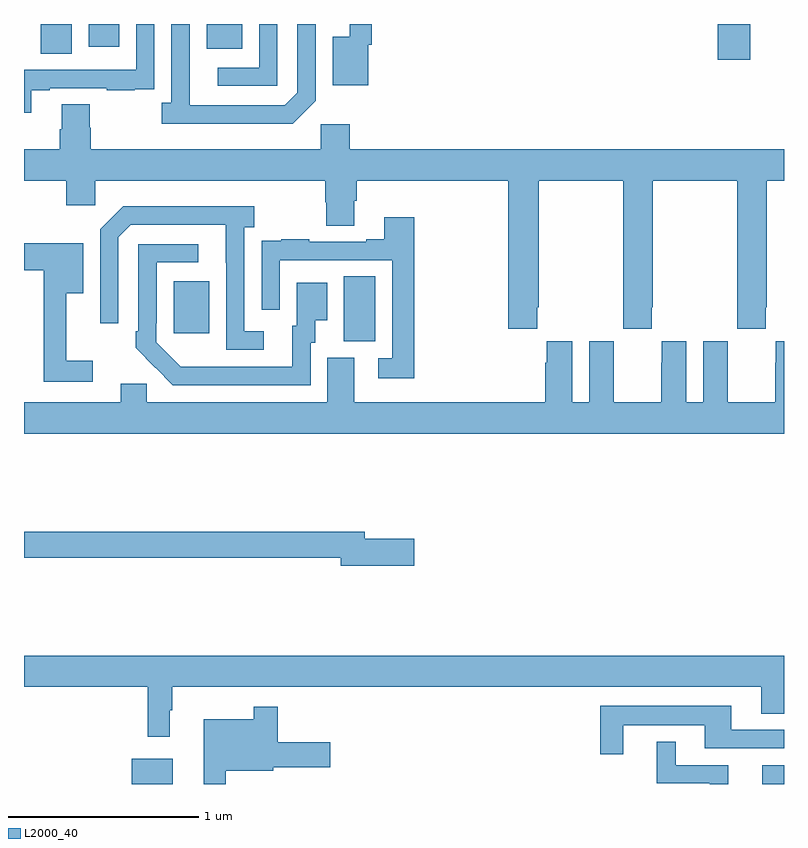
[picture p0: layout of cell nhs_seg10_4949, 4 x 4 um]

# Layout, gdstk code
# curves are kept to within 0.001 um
import gdstk
lib = gdstk.Library(unit=1e-6, precision=1e-09)
def R(c, l, rs):  # rectangles x0, y0, x1, y1
    for r in rs: c.add(gdstk.rectangle(r[:2], r[2:], *l))
def P(c, l, *ps):  # polygons
    for p in ps: c.add(gdstk.Polygon(p, *l))
L2000_40 = (2000, 40)

nhs_seg10_4949 = lib.new_cell('nhs_seg10_4949')
R(nhs_seg10_4949, L2000_40, [(397.568,1270.5,397.783,1270.633), (400.886,1270.5,401,1270.6), (398.684,1272.829,398.848,1273.172), (397.787,1272.873,397.975,1273.147), (400.652,1274.313,400.822,1274.5), (397.088,1274.344,397.252,1274.5), (397.961,1274.369,398.149,1274.5), (397.34,1274.379,397.501,1274.5)])
P(nhs_seg10_4949, L2000_40, [(398.334,1274.5),(398.238,1274.5),(398.238,1274.271),(398.019,1274.271),(398.019,1274.175),(398.334,1274.175)],
  [(398.535,1274.097),(398.535,1274.5),(398.439,1274.5),(398.439,1274.139),(398.373,1274.073),(397.873,1274.073),(397.872,1274.5),(397.776,1274.5),(397.776,1274.086),(397.725,1274.086),(397.725,1273.976),(398.414,1273.976)],
  [(397.039,1274.151),(397.135,1274.151),(397.135,1274.163),(397.435,1274.163),(397.435,1274.151),(397.583,1274.151),(397.583,1274.157),(397.685,1274.157),(397.685,1274.266),(397.686,1274.266),(397.686,1274.5),(397.59,1274.5),(397.59,1274.259),(397,1274.259),(397,1274.034),(397.039,1274.034)],
  [(398.812,1274.391),(398.831,1274.391),(398.831,1274.5),(398.714,1274.5),(398.714,1274.434),(398.624,1274.434),(398.624,1274.177),(398.812,1274.177)],
  [(398.714,1273.972),(398.562,1273.972),(398.562,1273.84),(397.352,1273.84),(397.352,1273.953),(397.347,1273.953),(397.347,1274.078),(397.199,1274.078),(397.199,1273.946),(397.187,1273.946),(397.187,1273.84),(397,1273.84),(397,1273.676),(397.223,1273.676),(397.223,1273.545),(397.374,1273.545),(397.374,1273.676),(398.585,1273.676),(398.585,1273.563),(398.59,1273.563),(398.59,1273.438),(398.737,1273.438),(398.737,1273.57),(398.75,1273.57),(398.75,1273.676),(399.548,1273.676),(399.548,1272.897),(399.701,1272.897),(399.701,1273.009),(399.708,1273.009),(399.708,1273.676),(400.153,1273.676),(400.153,1273.009),(400.155,1273.009),(400.155,1272.897),(400.305,1272.897),(400.305,1273.009),(400.308,1273.009),(400.308,1273.676),(400.753,1273.676),(400.753,1273.009),(400.755,1273.009),(400.755,1272.897),(400.905,1272.897),(400.905,1273.009),(400.908,1273.009),(400.908,1273.676),(401,1273.676),(401,1273.84),(398.714,1273.84)],
  [(398.263,1272.882),(398.16,1272.882),(398.16,1273.43),(398.212,1273.43),(398.212,1273.54),(397.522,1273.54),(397.401,1273.419),(397.401,1272.924),(397.497,1272.924),(397.497,1273.377),(397.563,1273.443),(398.063,1273.443),(398.064,1272.786),(398.263,1272.786)],
  [(399.053,1273.483),(398.897,1273.483),(398.897,1273.366),(398.801,1273.366),(398.801,1273.353),(398.501,1273.353),(398.501,1273.366),(398.353,1273.366),(398.353,1273.359),(398.251,1273.359),(398.251,1273.25),(398.25,1273.25),(398.25,1272.996),(398.346,1272.996),(398.346,1273.257),(398.937,1273.257),(398.937,1272.741),(398.865,1272.741),(398.865,1272.636),(399.053,1272.636)],
  [(397.363,1272.727),(397.223,1272.727),(397.223,1273.082),(397.312,1273.082),(397.312,1273.347),(397,1273.347),(397,1273.205),(397.105,1273.205),(397.105,1272.618),(397.363,1272.618)],
  [(398.508,1272.822),(398.533,1272.822),(398.533,1272.941),(398.596,1272.941),(398.596,1273.138),(398.435,1273.138),(398.435,1272.912),(398.411,1272.912),(398.411,1272.696),(397.824,1272.697),(397.695,1272.825),(397.695,1272.925),(397.698,1272.925),(397.698,1273.245),(397.918,1273.245),(397.918,1273.341),(397.602,1273.341),(397.602,1272.883),(397.587,1272.883),(397.587,1272.795),(397.784,1272.6),(398.508,1272.6)],
  [(401,1272.829),(400.956,1272.829),(400.956,1272.716),(400.955,1272.716),(400.955,1272.508),(400.705,1272.508),(400.705,1272.716),(400.704,1272.716),(400.704,1272.829),(400.574,1272.829),(400.574,1272.508),(400.486,1272.508),(400.486,1272.829),(400.356,1272.829),(400.356,1272.716),(400.355,1272.716),(400.355,1272.508),(400.105,1272.508),(400.105,1272.716),(400.104,1272.716),(400.104,1272.829),(399.974,1272.829),(399.974,1272.508),(399.886,1272.508),(399.886,1272.829),(399.752,1272.829),(399.752,1272.716),(399.743,1272.716),(399.743,1272.508),(398.737,1272.508),(398.737,1272.744),(398.597,1272.744),(398.597,1272.508),(397.647,1272.508),(397.647,1272.606),(397.508,1272.606),(397.508,1272.508),(397,1272.508),(397,1272.344),(401,1272.344)],
  [(399.055,1271.792),(398.794,1271.792),(398.794,1271.828),(397,1271.828),(397,1271.692),(398.666,1271.692),(398.666,1271.65),(399.055,1271.65)],
  [(397.768,1270.889),(397.78,1270.889),(397.78,1271.012),(400.88,1271.012),(400.88,1270.87),(401,1270.87),(401,1271.176),(397,1271.176),(397,1271.012),(397.651,1271.012),(397.651,1270.749),(397.768,1270.749)],
  [(400.153,1270.808),(400.583,1270.808),(400.583,1270.689),(401,1270.689),(401,1270.785),(400.723,1270.785),(400.723,1270.912),(400.032,1270.912),(400.032,1270.656),(400.153,1270.656)],
  [(398.063,1270.571),(398.313,1270.571),(398.313,1270.589),(398.611,1270.589),(398.611,1270.719),(398.336,1270.719),(398.336,1270.906),(398.208,1270.906),(398.208,1270.84),(397.946,1270.84),(397.946,1270.5),(398.063,1270.5)],
  [(400.706,1270.599),(400.429,1270.599),(400.429,1270.723),(400.331,1270.723),(400.331,1270.503),(400.608,1270.503),(400.608,1270.5),(400.706,1270.5)])

lib.write_gds('nhs_seg10_4949.gds')
